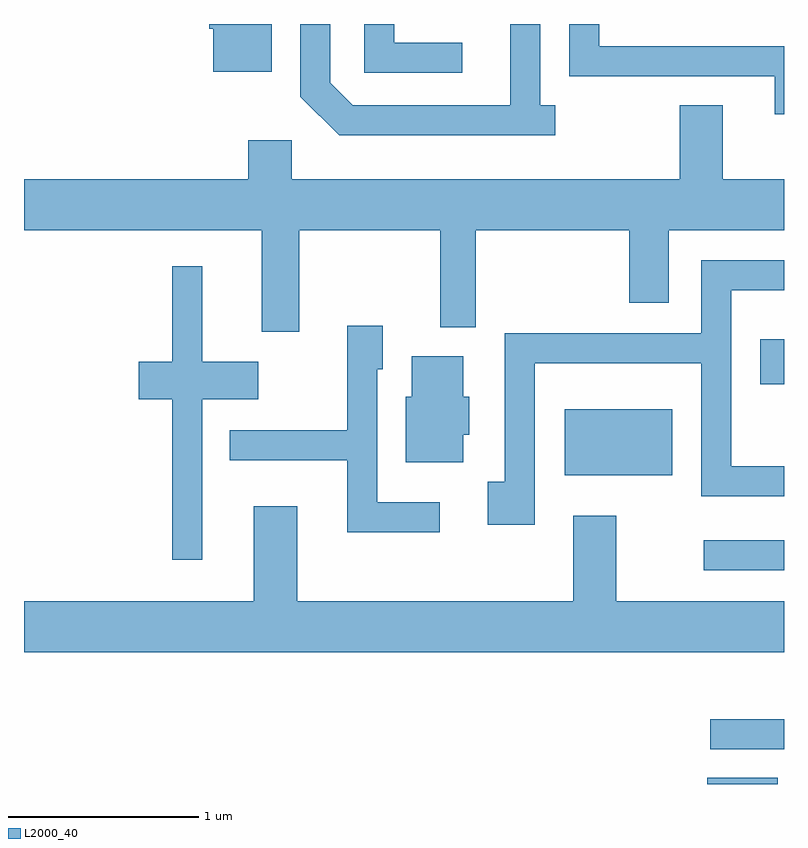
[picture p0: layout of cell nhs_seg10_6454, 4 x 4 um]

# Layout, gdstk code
import gdstk
lib = gdstk.Library(unit=1e-6, precision=1e-09)
def R(c, l, rs):  # rectangles x0, y0, x1, y1
    for r in rs: c.add(gdstk.rectangle(r[:2], r[2:], *l))
def P(c, l, *ps):  # polygons
    for p in ps: c.add(gdstk.Polygon(p, *l))
L2000_40 = (2000, 40)

nhs_seg10_6454 = lib.new_cell('nhs_seg10_6454')
R(nhs_seg10_6454, L2000_40, [(379.206,2146.522,379.579,2146.554), (379.223,2146.706,379.611,2146.864), (379.188,2147.646,379.611,2147.804), (378.456,2148.146,379.024,2148.494), (379.486,2148.626,379.611,2148.863)])
P(nhs_seg10_6454, L2000_40, [(378.408,2150.094),(378.329,2150.094),(378.329,2150.522),(378.171,2150.522),(378.171,2150.094),(377.342,2150.094),(377.224,2150.212),(377.224,2150.522),(377.066,2150.522),(377.066,2150.139),(377.269,2149.936),(378.408,2149.936)],
  [(377.918,2150.424),(377.559,2150.424),(377.559,2150.522),(377.401,2150.522),(377.401,2150.266),(377.918,2150.266)],
  [(376.914,2150.522),(376.586,2150.522),(376.586,2150.496),(376.606,2150.496),(376.606,2150.271),(376.914,2150.271)],
  [(379.611,2150.404),(378.639,2150.404),(378.639,2150.522),(378.481,2150.522),(378.481,2150.246),(379.561,2150.246),(379.561,2150.046),(379.611,2150.046)],
  [(377.059,2149.436),(377.801,2149.436),(377.801,2148.926),(377.989,2148.926),(377.989,2149.436),(378.796,2149.436),(378.796,2149.056),(379.004,2149.056),(379.004,2149.436),(379.611,2149.436),(379.611,2149.704),(379.289,2149.704),(379.289,2150.094),(379.061,2150.094),(379.061,2149.704),(377.019,2149.704),(377.019,2149.909),(376.791,2149.909),(376.791,2149.704),(375.611,2149.704),(375.611,2149.436),(376.861,2149.436),(376.861,2148.901),(377.059,2148.901)],
  [(378.299,2148.736),(379.176,2148.736),(379.176,2148.036),(379.611,2148.036),(379.611,2148.194),(379.334,2148.194),(379.334,2149.121),(379.611,2149.121),(379.611,2149.279),(379.176,2149.279),(379.176,2148.894),(378.141,2148.894),(378.141,2148.114),(378.051,2148.114),(378.051,2147.886),(378.299,2147.886)],
  [(376.549,2148.546),(376.844,2148.546),(376.844,2148.744),(376.549,2148.744),(376.549,2149.248),(376.391,2149.248),(376.391,2148.744),(376.216,2148.744),(376.216,2148.546),(376.391,2148.546),(376.391,2147.703),(376.549,2147.703)],
  [(377.798,2148.004),(377.469,2148.004),(377.469,2148.706),(377.499,2148.706),(377.499,2148.934),(377.311,2148.934),(377.311,2148.384),(376.693,2148.384),(376.693,2148.226),(377.311,2148.226),(377.311,2147.846),(377.798,2147.846)],
  [(377.924,2148.361),(377.954,2148.361),(377.954,2148.559),(377.924,2148.559),(377.924,2148.774),(377.651,2148.774),(377.651,2148.559),(377.621,2148.559),(377.621,2148.216),(377.924,2148.216)],
  [(379.611,2147.484),(378.729,2147.484),(378.729,2147.934),(378.501,2147.934),(378.501,2147.484),(377.049,2147.484),(377.049,2147.984),(376.821,2147.984),(376.821,2147.484),(375.611,2147.484),(375.611,2147.216),(379.611,2147.216)])

lib.write_gds('nhs_seg10_6454.gds')
